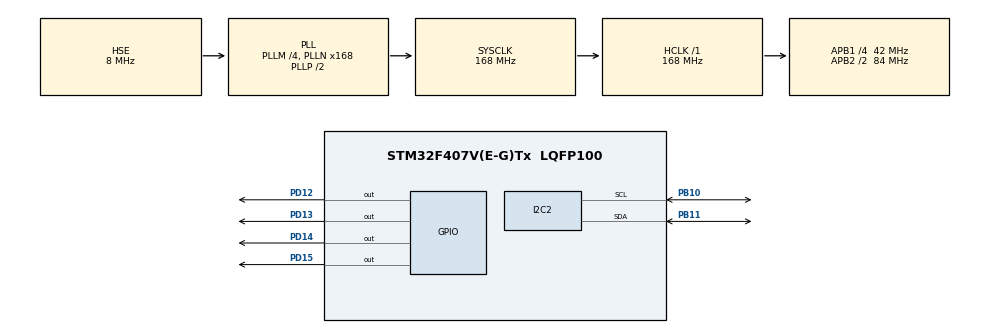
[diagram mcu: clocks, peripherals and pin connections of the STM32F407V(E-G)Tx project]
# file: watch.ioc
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Mcu.Family=STM32F4
Mcu.Name=STM32F407V(E-G)Tx
Mcu.Package=LQFP100
NVIC.PriorityGroup=NVIC_PRIORITYGROUP_4
NVIC.TIM6_DAC_IRQn=true\:0\:0\:false\:false\:true\:true
PB10.Mode=I2C
PB10.Signal=I2C2_SCL
PB11.Mode=I2C
PB11.Signal=I2C2_SDA
PC14-OSC32_IN.Mode=LSE-External-Oscillator
PC14-OSC32_IN.Signal=RCC_OSC32_IN
PC15-OSC32_OUT.Mode=LSE-External-Oscillator
PC15-OSC32_OUT.Signal=RCC_OSC32_OUT
PD12.Signal=GPIO_Output
PD13.Signal=GPIO_Output
PD14.Signal=GPIO_Output
PD15.Signal=GPIO_Output
PH0-OSC_IN.Mode=HSE-External-Oscillator
PH0-OSC_IN.Signal=RCC_OSC_IN
PH1-OSC_OUT.Mode=HSE-External-Oscillator
PH1-OSC_OUT.Signal=RCC_OSC_OUT
ProjectManager.HeapSize=0x200
ProjectManager.StackSize=0x400
ProjectManager.TargetToolchain=MDK-ARM V5
RCC.48MHZClocksFreq_Value=84000000
RCC.AHBFreq_Value=168000000
RCC.APB1CLKDivider=RCC_HCLK_DIV4
RCC.APB1Freq_Value=42000000
RCC.APB1TimFreq_Value=84000000
RCC.APB2CLKDivider=RCC_HCLK_DIV2
RCC.APB2Freq_Value=84000000
RCC.APB2TimFreq_Value=168000000
RCC.CortexFreq_Value=168000000
RCC.HCLKFreq_Value=168000000
RCC.HSE_VALUE=8000000
RCC.HSI_VALUE=16000000
RCC.PLLM=4
RCC.PLLN=168
RCC.PLLSourceVirtual=RCC_PLLSOURCE_HSE
RCC.RCC_RTC_Clock_Source=RCC_RTCCLKSOURCE_LSE
RCC.SYSCLKFreq_VALUE=168000000
RCC.SYSCLKSource=RCC_SYSCLKSOURCE_PLLCLK
RCC.VCOOutputFreq_Value=336000000
RTC.Date=25
RTC.Hours=10
RTC.Minutes=10
RTC.Month=RTC_MONTH_APRIL
RTC.Year=19
TIM6.Period=499
TIM6.Prescaler=41999
VP_RTC_VS_RTC_Activate.Mode=RTC_Enabled
VP_RTC_VS_RTC_Calendar.Mode=RTC_Calendar
VP_TIM6_VS_ClockSourceINT.Mode=Enable_Timer
board=custom

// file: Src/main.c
/* USER CODE BEGIN Header */
/**
  ******************************************************************************
  * @file           : main.c
  * @brief          : Main program body
  ******************************************************************************
  ** This notice applies to any and all portions of this file
  * that are not between comment pairs USER CODE BEGIN and
  * USER CODE END. Other portions of this file, whether
  * inserted by the user or by software development tools
  * are owned by their respective copyright owners.
  *
  * COPYRIGHT(c) 2019 STMicroelectronics
  *
  * Redistribution and use in source and binary forms, with or without modification,
  * are permitted provided that the following conditions are met:
  *   1. Redistributions of source code must retain the above copyright notice,
  *      this list of conditions and the following disclaimer.
  *   2. Redistributions in binary form must reproduce the above copyright notice,
  *      this list of conditions and the following disclaimer in the documentation
  *      and/or other materials provided with the distribution.
  *   3. Neither the name of STMicroelectronics nor the names of its contributors
  *      may be used to endorse or promote products derived from this software
  *      without specific prior written permission.
  *
  * THIS SOFTWARE IS PROVIDED BY THE COPYRIGHT HOLDERS AND CONTRIBUTORS "AS IS"
  * AND ANY EXPRESS OR IMPLIED WARRANTIES, INCLUDING, BUT NOT LIMITED TO, THE
  * IMPLIED WARRANTIES OF MERCHANTABILITY AND FITNESS FOR A PARTICULAR PURPOSE ARE
  * DISCLAIMED. IN NO EVENT SHALL THE COPYRIGHT HOLDER OR CONTRIBUTORS BE LIABLE
  * FOR ANY DIRECT, INDIRECT, INCIDENTAL, SPECIAL, EXEMPLARY, OR CONSEQUENTIAL
  * DAMAGES (INCLUDING, BUT NOT LIMITED TO, PROCUREMENT OF SUBSTITUTE GOODS OR
  * SERVICES; LOSS OF USE, DATA, OR PROFITS; OR BUSINESS INTERRUPTION) HOWEVER
  * CAUSED AND ON ANY THEORY OF LIABILITY, WHETHER IN CONTRACT, STRICT LIABILITY,
  * OR TORT (INCLUDING NEGLIGENCE OR OTHERWISE) ARISING IN ANY WAY OUT OF THE USE
  * OF THIS SOFTWARE, EVEN IF ADVISED OF THE POSSIBILITY OF SUCH DAMAGE.
  *
  ******************************************************************************
  */
/* USER CODE END Header */

#include "main.h"

I2C_HandleTypeDef hi2c2;

RTC_HandleTypeDef hrtc;

TIM_HandleTypeDef htim6;

/* USER CODE BEGIN PV */
RTC_TimeTypeDef sTime;
RTC_DateTypeDef sDate;

char strDate[15];
char strTime[10];
char months[12][10] = { {"january"}, {"february"}, {"march"}, {"april"}, {"may"}, {"june"}, {"july"}, {"august"}, {"september"},
														{"october"}, {"november"}, {"december"} };
/* USER CODE END PV */

void SystemClock_Config(void);
static void MX_GPIO_Init(void);
static void MX_RTC_Init(void);
static void MX_TIM6_Init(void);
static void MX_I2C2_Init(void);
/* USER CODE BEGIN PFP */
void UpdateTime(void);
/* USER CODE END PFP */

int main(void)
{

  /* MCU Configuration--------------------------------------------------------*/

  /* Reset of all peripherals, Initializes the Flash interface and the Systick. */
  HAL_Init();

  /* Configure the system clock */
  SystemClock_Config();

  /* Initialize all configured peripherals */
  MX_GPIO_Init();
  MX_RTC_Init();
  MX_TIM6_Init();
  MX_I2C2_Init();
  /* USER CODE BEGIN 2 */
	ssd1306_Init();
	ssd1306_Fill(Black);
	ssd1306_SetCursor(1, 15);
	ssd1306_WriteString("RTC watch", Font_11x18, White);
	ssd1306_UpdateScreen();
	HAL_Delay(2000);
	HAL_TIM_Base_Start_IT(&htim6);
  /* USER CODE END 2 */

  /* Infinite loop */
  while (1)
  {

  }
}

void SystemClock_Config(void)
{
  RCC_OscInitTypeDef RCC_OscInitStruct = {0};
  RCC_ClkInitTypeDef RCC_ClkInitStruct = {0};
  RCC_PeriphCLKInitTypeDef PeriphClkInitStruct = {0};

  /**Configure the main internal regulator output voltage
  */
  __HAL_RCC_PWR_CLK_ENABLE();
  __HAL_PWR_VOLTAGESCALING_CONFIG(PWR_REGULATOR_VOLTAGE_SCALE1);
  /**Initializes the CPU, AHB and APB busses clocks
  */
  RCC_OscInitStruct.OscillatorType = RCC_OSCILLATORTYPE_HSE|RCC_OSCILLATORTYPE_LSE;
  RCC_OscInitStruct.HSEState = RCC_HSE_ON;
  RCC_OscInitStruct.LSEState = RCC_LSE_ON;
  RCC_OscInitStruct.PLL.PLLState = RCC_PLL_ON;
  RCC_OscInitStruct.PLL.PLLSource = RCC_PLLSOURCE_HSE;
  RCC_OscInitStruct.PLL.PLLM = 4;
  RCC_OscInitStruct.PLL.PLLN = 168;
  RCC_OscInitStruct.PLL.PLLP = RCC_PLLP_DIV2;
  RCC_OscInitStruct.PLL.PLLQ = 4;
  if (HAL_RCC_OscConfig(&RCC_OscInitStruct) != HAL_OK)
  {
    Error_Handler();
  }
  /**Initializes the CPU, AHB and APB busses clocks
  */
  RCC_ClkInitStruct.ClockType = RCC_CLOCKTYPE_HCLK|RCC_CLOCKTYPE_SYSCLK
                              |RCC_CLOCKTYPE_PCLK1|RCC_CLOCKTYPE_PCLK2;
  RCC_ClkInitStruct.SYSCLKSource = RCC_SYSCLKSOURCE_PLLCLK;
  RCC_ClkInitStruct.AHBCLKDivider = RCC_SYSCLK_DIV1;
  RCC_ClkInitStruct.APB1CLKDivider = RCC_HCLK_DIV4;
  RCC_ClkInitStruct.APB2CLKDivider = RCC_HCLK_DIV2;

  if (HAL_RCC_ClockConfig(&RCC_ClkInitStruct, FLASH_LATENCY_5) != HAL_OK)
  {
    Error_Handler();
  }
  PeriphClkInitStruct.PeriphClockSelection = RCC_PERIPHCLK_RTC;
  PeriphClkInitStruct.RTCClockSelection = RCC_RTCCLKSOURCE_LSE;
  if (HAL_RCCEx_PeriphCLKConfig(&PeriphClkInitStruct) != HAL_OK)
  {
    Error_Handler();
  }
}

static void MX_I2C2_Init(void)
{

  hi2c2.Instance = I2C2;
  hi2c2.Init.ClockSpeed = 100000;
  hi2c2.Init.DutyCycle = I2C_DUTYCYCLE_2;
  hi2c2.Init.OwnAddress1 = 0;
  hi2c2.Init.AddressingMode = I2C_ADDRESSINGMODE_7BIT;
  hi2c2.Init.DualAddressMode = I2C_DUALADDRESS_DISABLE;
  hi2c2.Init.OwnAddress2 = 0;
  hi2c2.Init.GeneralCallMode = I2C_GENERALCALL_DISABLE;
  hi2c2.Init.NoStretchMode = I2C_NOSTRETCH_DISABLE;
  if (HAL_I2C_Init(&hi2c2) != HAL_OK)
  {
    Error_Handler();
  }

}

static void MX_RTC_Init(void)
{

  RTC_TimeTypeDef sTime = {0};
  RTC_DateTypeDef sDate = {0};

  /**Initialize RTC Only
  */
  hrtc.Instance = RTC;
  hrtc.Init.HourFormat = RTC_HOURFORMAT_24;
  hrtc.Init.AsynchPrediv = 127;
  hrtc.Init.SynchPrediv = 255;
  hrtc.Init.OutPut = RTC_OUTPUT_DISABLE;
  hrtc.Init.OutPutPolarity = RTC_OUTPUT_POLARITY_HIGH;
  hrtc.Init.OutPutType = RTC_OUTPUT_TYPE_OPENDRAIN;
  if (HAL_RTC_Init(&hrtc) != HAL_OK)
  {
    Error_Handler();
  }

  /**Initialize RTC and set the Time and Date
  */
  sTime.Hours = 0x10;
  sTime.Minutes = 0x59;
  sTime.Seconds = 0x0;
  sTime.DayLightSaving = RTC_DAYLIGHTSAVING_NONE;
  sTime.StoreOperation = RTC_STOREOPERATION_RESET;
  if (HAL_RTC_SetTime(&hrtc, &sTime, RTC_FORMAT_BCD) != HAL_OK)
  {
    Error_Handler();
  }
  sDate.WeekDay = RTC_WEEKDAY_MONDAY;
  sDate.Month = RTC_MONTH_APRIL;
  sDate.Date = 0x25;
  sDate.Year = 0x19;

  if (HAL_RTC_SetDate(&hrtc, &sDate, RTC_FORMAT_BCD) != HAL_OK)
  {
    Error_Handler();
  }

}

static void MX_TIM6_Init(void)
{

  TIM_MasterConfigTypeDef sMasterConfig = {0};

  htim6.Instance = TIM6;
  htim6.Init.Prescaler = 41999;
  htim6.Init.CounterMode = TIM_COUNTERMODE_UP;
  htim6.Init.Period = 499;
  if (HAL_TIM_Base_Init(&htim6) != HAL_OK)
  {
    Error_Handler();
  }
  sMasterConfig.MasterOutputTrigger = TIM_TRGO_RESET;
  sMasterConfig.MasterSlaveMode = TIM_MASTERSLAVEMODE_DISABLE;
  if (HAL_TIMEx_MasterConfigSynchronization(&htim6, &sMasterConfig) != HAL_OK)
  {
    Error_Handler();
  }

}

static void MX_GPIO_Init(void)
{
  GPIO_InitTypeDef GPIO_InitStruct = {0};

  /* GPIO Ports Clock Enable */
  __HAL_RCC_GPIOC_CLK_ENABLE();
  __HAL_RCC_GPIOH_CLK_ENABLE();
  __HAL_RCC_GPIOB_CLK_ENABLE();
  __HAL_RCC_GPIOD_CLK_ENABLE();

  /*Configure GPIO pin Output Level */
  HAL_GPIO_WritePin(GPIOD, GPIO_PIN_12|GPIO_PIN_13|GPIO_PIN_14|GPIO_PIN_15, GPIO_PIN_RESET);

  /*Configure GPIO pins : PD12 PD13 PD14 PD15 */
  GPIO_InitStruct.Pin = GPIO_PIN_12|GPIO_PIN_13|GPIO_PIN_14|GPIO_PIN_15;
  GPIO_InitStruct.Mode = GPIO_MODE_OUTPUT_PP;
  GPIO_InitStruct.Pull = GPIO_NOPULL;
  GPIO_InitStruct.Speed = GPIO_SPEED_FREQ_LOW;
  HAL_GPIO_Init(GPIOD, &GPIO_InitStruct);

}

/* USER CODE BEGIN 4 */
void UpdateTime(void)
{
		HAL_RTC_GetTime(&hrtc, &sTime, RTC_FORMAT_BIN);
		HAL_RTC_GetDate(&hrtc, &sDate, RTC_FORMAT_BIN);
		sprintf(strDate, "%d %s 20%d", sDate.Date, months[sDate.Month - 1], sDate.Year);
		sprintf(strTime, "%02d:%02d:%02d", sTime.Hours, sTime.Minutes, sTime.Seconds);
		ssd1306_Fill(Black);
		ssd1306_SetCursor(15,5);
		ssd1306_WriteString(strDate, Font_7x10, White);
		ssd1306_SetCursor(15,30);
		ssd1306_WriteString(strTime, Font_11x18, White);
	ssd1306_UpdateScreen();
}
/* USER CODE END 4 */

void Error_Handler(void)
{
}

/************************ (C) COPYRIGHT STMicroelectronics *****END OF FILE****/
